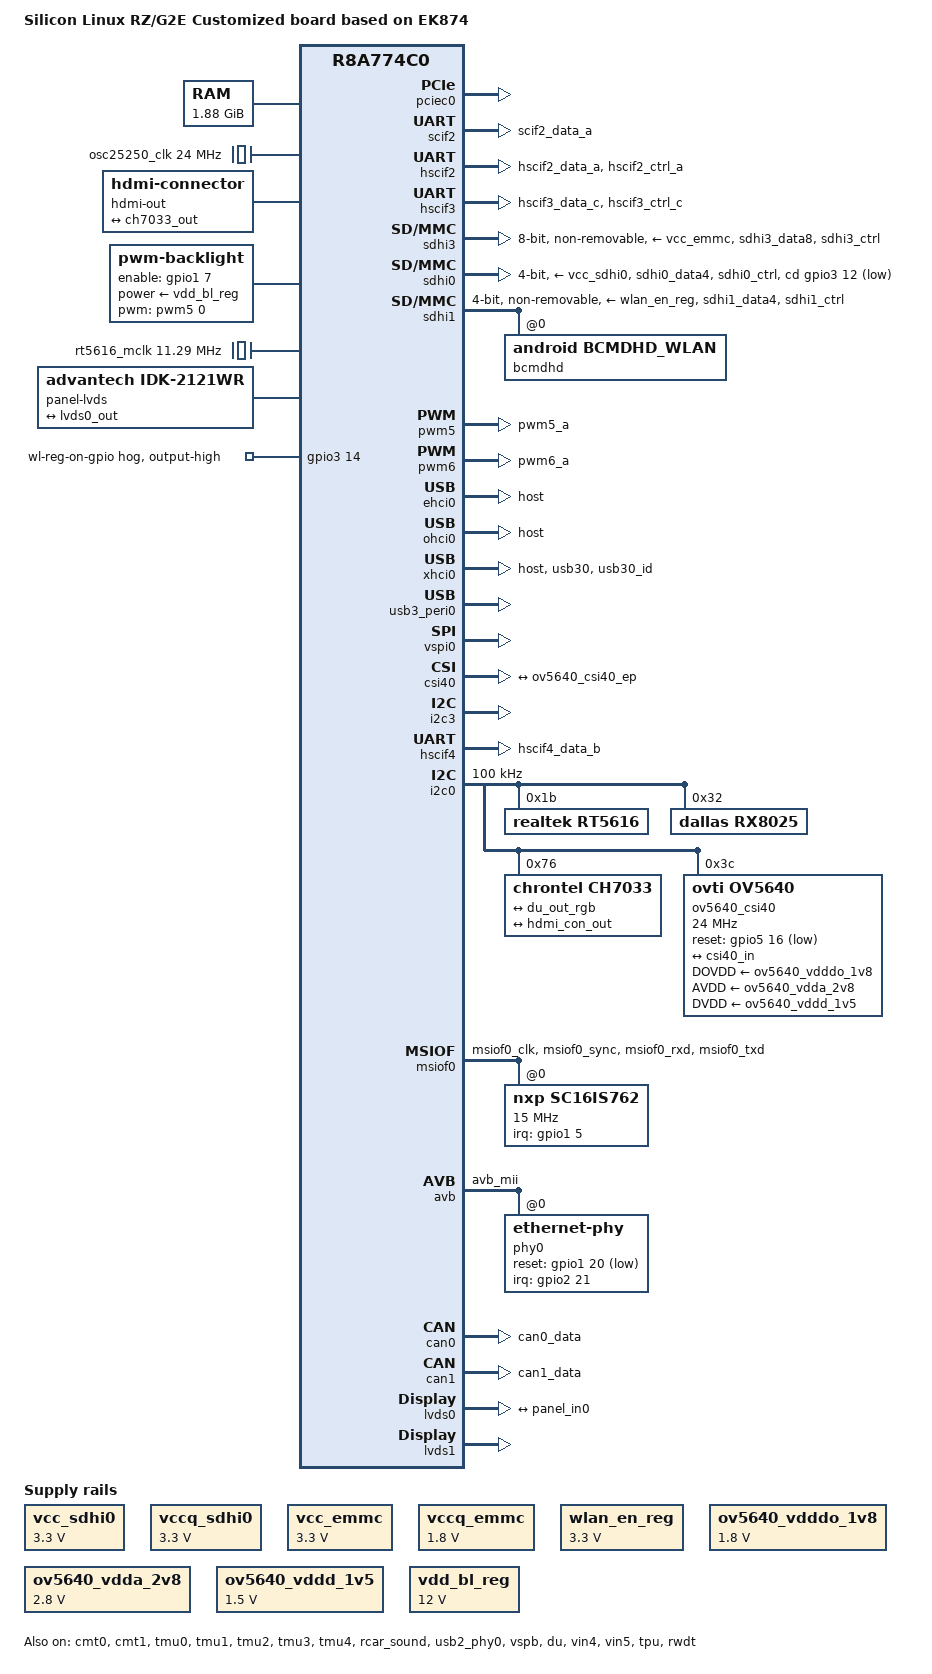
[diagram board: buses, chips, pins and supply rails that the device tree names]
// SPDX-License-Identifier: GPL-2.0
/*
 * Device Tree Source for the Silicon Linux RZ/G2E 96board platform (CAT874)
 *
 * Copyright (C) 2019 Renesas Electronics Corp.
 */

/dts-v1/;
#include "r8a774c0.dtsi"
#include <dt-bindings/gpio/gpio.h>

/ {
	model = "Silicon Linux RZ/G2E Customized board based on EK874";
	compatible = "si-linux,cat875", "si-linux,cat874", "renesas,r8a774c0";

	aliases {
		serial0 = &scif2;
		serial1 = &hscif2;
		serial2 = &hscif3;
		serial3 = &hscif4;
		spi0 = &msiof0;
		spi1 = &msiof1;
		spi2 = &msiof2;
		spi3 = &msiof3;
		ethernet0 = &avb;
	};

	chosen {
		bootargs = "rootfstype=ext4 ro rootwait";
		stdout-path = "serial0:115200n8";
	};

	memory@48000000 {
		device_type = "memory";
		/* first 128MB is reserved for secure area. */
		reg = <0x0 0x48000000 0x0 0x78000000>;
	};

	reserved-memory {
		#address-cells = <2>;
		#size-cells = <2>;
		ranges;

		/* global autoconfigured region for contiguous allocations */
		linux,cma@58000000 {
			compatible = "shared-dma-pool";
			reusable;
			reg = <0x00000000 0x58000000 0x0 0x10000000>;
			linux,cma-default;
		};

		/* device specific region for contiguous allocations */
		mmp_reserved: linux,multimedia {
			compatible = "shared-dma-pool";
			reusable;
			reg = <0x00000000 0x68000000 0x0 0x08000000>;
		};
	};


	mmngr {
		compatible = "renesas,mmngr";
		memory-region = <&mmp_reserved>;
	};

	mmngrbuf {
		compatible = "renesas,mmngrbuf";
	};

	vspm_if {
		compatible = "renesas,vspm_if";
	};

	vcc_sdhi0: regulator-vcc-sdhi0 {
		compatible = "regulator-fixed";

		regulator-name = "SDHI0 Vcc";
		regulator-min-microvolt = <3300000>;
		regulator-max-microvolt = <3300000>;
		regulator-always-on;
		regulator-boot-on;
	};

	vccq_sdhi0: regulator-vccq-sdhi0 {
		compatible = "regulator-fixed";

		regulator-name = "SDHI0 VccQ";
		regulator-min-microvolt = <3300000>;
		regulator-max-microvolt = <3300000>;
		regulator-always-on;
		regulator-boot-on;
	};

	vcc_emmc: regulator-vcc-emmc {
		compatible = "regulator-fixed";

		regulator-name = "eMMC Vcc";
		regulator-min-microvolt = <3300000>;
		regulator-max-microvolt = <3300000>;
		regulator-always-on;
		regulator-boot-on;
	};

	vccq_emmc: regulator-vccq-emmc {
		compatible = "regulator-fixed";

		regulator-name = "eMMC VccQ";
		regulator-min-microvolt = <1800000>;
		regulator-max-microvolt = <1800000>;
		regulator-always-on;
		regulator-boot-on;
	};

	wlan_en_reg: fixedregulator {
		compatible = "regulator-fixed";
		regulator-name = "wlan-en-regulator";
		regulator-min-microvolt = <3300000>;
		regulator-max-microvolt = <3300000>;
		regulator-always-on;
		regulator-boot-on;
	};

	ov5640_vdddo_1v8: 1p8v {
		compatible = "regulator-fixed";
		regulator-name = "camera_vdddo";
		regulator-min-microvolt = <1800000>;
		regulator-max-microvolt = <1800000>;
		regulator-always-on;
	};

	ov5640_vdda_2v8: 2p8v {
		compatible = "regulator-fixed";
		regulator-name = "camera_vdda";
		regulator-min-microvolt = <2800000>;
		regulator-max-microvolt = <2800000>;
		regulator-always-on;
	};

	ov5640_vddd_1v5: 1p5v {
		compatible = "regulator-fixed";
		regulator-name = "camera_vddd";
		regulator-min-microvolt = <1500000>;
		regulator-max-microvolt = <1500000>;
		regulator-always-on;
	};

	osc25250_clk: osc25250_clk {
		compatible = "fixed-clock";
		#clock-cells = <0>;
		clock-frequency = <24000000>;
	};

	sound {
		compatible = "simple-audio-card";
		simple-audio-card,format = "i2s";
		simple-audio-card,mclk-fs = <256>;

		#address-cells = <1>;
		#size-cells = <0>;

		simple-audio-card,dai-link@1 {
			reg = <1>;
			format = "i2s";
			cpu {
				sound-dai = <&rcar_sound 1>;
				bitclock-master;
				frame-master;
			};

			codec {
				sound-dai = <&rt5616>;
			};
		};

	};

	/* External DU dot clocks */
	x13_clk: x13 {
		compatible = "fixed-clock";
		#clock-cells = <0>;
		clock-frequency = <74250000>;
	};

	hdmi-out {
		compatible = "hdmi-connector";
		type = "a";

		port {
			hdmi_con_out: endpoint {
				remote-endpoint = <&ch7033_out>;
			};
		};
	};

	vdd_bl_reg: bl-regulator {
		compatible = "regulator-fixed";
		regulator-name = "fixed-12V";
		regulator-min-microvolt = <12000000>;
		regulator-max-microvolt = <12000000>;
		regulator-boot-on;
		regulator-always-on;
	};

	backlight {
		compatible = "pwm-backlight";
		pwms = <&pwm5 0 5000000>;

		brightness-levels = <0 4 8 16 32 64 128 255>;
		default-brightness-level = <6>;

		power-supply = <&vdd_bl_reg>;
		enable-gpios = <&gpio1 7 GPIO_ACTIVE_HIGH>;
	};

        clocks {
		rt5616_mclk: rt5616_mclk {
			compatible = "fixed-clock";
			#clock-cells = <0>;
			clock-frequency = <11289600>;
			clock-output-names = "rt5616-mclk";
			status = "okay";
                };
        };

	osc25250_clk: osc25250_clk {
		compatible = "fixed-clock";
		#clock-cells = <0>;
		clock-frequency = <24000000>;
	};

	sc16is7xx_clk: sc16is7xx_clk {
		compatible = "fixed-clock";
		#clock-cells = <0>;
		clock-frequency = <1843200>;
	};

	panel-lvds {
		compatible = "advantech,idk-2121wr", "panel-lvds";

		width-mm = <476>;
		height-mm = <268>;

		data-mapping = "vesa-24";

		panel-timing {
			clock-frequency = <65000000>;
			hactive = <1024>;
			vactive = <768>;
			hsync-len = <136>;
			hfront-porch = <24>;
			hback-porch = <160>;
			vfront-porch = <3>;
			vback-porch = <29>;
			vsync-len = <6>;
		};

		ports {
			#address-cells = <1>;
			#size-cells = <0>;

			port@0 {
				reg = <0>;
				dual-lvds-odd-pixels;
				panel_in0: endpoint {
					remote-endpoint = <&lvds0_out>;
				};
			};
		};
	};
};

&audio_clk_a {
	clock-frequency = <22579200>;
};

&extal_clk {
	clock-frequency = <48000000>;
};

&pcie_bus_clk {
	clock-frequency = <100000000>;
};

&pciec0 {
	/* Map all possible DDR as inbound ranges */
	dma-ranges = <0x42000000 0 0x40000000 0 0x40000000 0 0x80000000>;
};

&pfc {
	scif2_pins: scif2 {
		groups = "scif2_data_a";
		function = "scif2";
	};

	hscif2_pins: hscif2 {
		groups = "hscif2_data_a", "hscif2_ctrl_a";
		function = "hscif2";
	};

	hscif3_pins: hscif3 {
		groups = "hscif3_data_c", "hscif3_ctrl_c";
		function = "hscif3";
	};

	hscif4_pins: hscif4 {
		groups = "hscif4_data_b";
		function = "hscif4";
	};

	sdhi0_pins: sd0 {
		groups = "sdhi0_data4", "sdhi0_ctrl";
		function = "sdhi0";
		power-source = <3300>;
	};
	pwm5_pins: pwm5 {
		groups = "pwm5_a";
		function = "pwm5";
	};

	pwm6_pins: pwm6 {
		groups = "pwm6_a";
		function = "pwm6";
	};

	sound_clk_pins: sound_clk {
		groups = "audio_clkout_a", "audio_clkout1_a",
			 "audio_clk_a", "audio_clk_b_a", "audio_clk_c_a";
		function = "audio_clk";
	};

	sound_pins: sound {
		groups = "ssi01239_ctrl", "ssi0_data",
			 "ssi349_ctrl", "ssi3_data", "ssi4_data";
		function = "ssi";
	};

	tpu0_pins: tpu {
		groups = "tpu0_to0", "tpu0_to1";
		function = "tpu0";
	};

	usb0_pins: usb {
		groups = "usb0_b";
		function = "usb0";
	};

	usb30_pins: usb30 {
		groups = "usb30", "usb30_id";
		function = "usb30";
	};

	sdhi3_pins: sd3 {
		groups = "sdhi3_data8", "sdhi3_ctrl";
		function = "sdhi3";
		power-source = <3300>;
	};

	sdhi3_pins_uhs: sd3_uhs {
		groups = "sdhi3_data8", "sdhi3_ctrl";
		function = "sdhi3";
		power-source = <1800>;
	};

	du_pins: du {
		groups = "du_rgb888", "du_sync", "du_clk_out_0",
			"du_disp";
		function = "du";
	};

	msiof0_pins: spi0 {
		groups = "msiof0_clk", "msiof0_sync",
			"msiof0_rxd", "msiof0_txd";
		function = "msiof0";
	};

	avb_pins: avb {
		mux {
			groups = "avb_mii";
			function = "avb";
		};
	};

	can0_pins: can0 {
		groups = "can0_data";
		function = "can0";
	};

	can1_pins: can1 {
		groups = "can1_data";
		function = "can1";
	};


	sdhi1_pins: sd1 {
		groups = "sdhi1_data4", "sdhi1_ctrl";
		function = "sdhi1";
		power-source = <3300>;
	};

	camera_pins: camera {
		
	};
};

&scif2 {
	pinctrl-0 = <&scif2_pins>;
	pinctrl-names = "default";

	status = "okay";
};

&hscif2 {
	pinctrl-0 = <&hscif2_pins>;
	pinctrl-names = "default";

	uart-has-rtscts;
	status = "okay";
};

&hscif3 {
	pinctrl-0 = <&hscif3_pins>;
	pinctrl-names = "default";

	uart-has-rtscts;
	status = "okay";
};

&sdhi3 {
	/* used for on-board eMMC */
	status = "okay";
	pinctrl-0 = <&sdhi3_pins>;
	pinctrl-1 = <&sdhi3_pins_uhs>;
	pinctrl-names = "default", "state_uhs";

	vmmc-supply = <&vcc_emmc>;
	vqmmc-supply = <&vccq_emmc>;
	bus-width = <8>;

	non-removable;
	fixed-emmc-driver-type = <1>;
	max-frequency = <200000000>;
	mmc-hs200-1_8v;
};

&sdhi0 {
	pinctrl-0 = <&sdhi0_pins>;
	pinctrl-names = "default";

	/* No 1.8V supply avaiable for SD card on this board. */
	vmmc-supply = <&vcc_sdhi0>;
	vqmmc-supply = <&vccq_sdhi0>;
	cd-gpios = <&gpio3 12 GPIO_ACTIVE_LOW>;
	bus-width = <4>;
	max-frequency = <52000000>;
	cap-sd-highspeed;
	no-1-8-v;
	status = "okay";
};

&sdhi1 {
	status = "okay";
	pinctrl-0 = <&sdhi1_pins>;
	pinctrl-names = "default";

	vmmc-supply = <&wlan_en_reg>;
	bus-width = <4>;
	max-frequency = <52000000>;
	non-removable;
	cap-power-off-card;
	keep-power-in-suspend;	
	no-1-8-v;

        bcmdhd: bcmdhd@0 {
                compatible = "android,bcmdhd_wlan";
                status = "okay";
        };

/*
	brcmf: wifi@0 {
		reg = <0>;
		compatible = "brcm,bcm4329-fmac";
                status = "okay";
	};
*/
};

&pwm5 {
	pinctrl-0 = <&pwm5_pins>;
	pinctrl-names = "default";

	status = "okay";
};

&pwm6 {
	pinctrl-0 = <&pwm6_pins>;
	pinctrl-names = "default";

	status = "okay";
};

&cmt0 {
	status = "okay";
};

&cmt1 {
	status = "okay";
};

&tmu0 {
	status = "okay";
};

&tmu1 {
	status = "okay";
};

&tmu2 {
	status = "okay";
};

&tmu3 {
	status = "okay";
};

&tmu4 {
	status = "okay";
};

&rcar_sound {
	pinctrl-0 = <&sound_pins &sound_clk_pins>;
	pinctrl-names = "default";

	/* Single DAI */
	#sound-dai-cells = <1>;

	/* audio_clkout0/1/2/3 */
	#clock-cells = <1>;
	clock-frequency = <11289600>;

	status = "okay";

	rcar_sound,dai {
		dai0 {
			playback = <&ssi0 &src0 &dvc0>;
		};

		dai1 {
			playback = <&ssi4 &src4 &dvc1>;
			capture  = <&ssi3 &src3 &dvc1>;
		};
	};
};

&ssi4 {
	shared-pin;
};

&ehci0 {
	dr_mode = "host";
	status = "okay";
};

&ohci0 {
	dr_mode = "host";
	status = "okay";
};

&usb2_phy0 {
	pinctrl-0 = <&usb0_pins>;
	pinctrl-names = "default";

	status = "okay";
};

&xhci0 {
	pinctrl-0 = <&usb30_pins>;
	pinctrl-names = "default";
	dr_mode = "host";

	status = "okay";
};

&usb3_peri0 {
	companion = <&xhci0>;

	usb-role-switch;
	role-switch-default-mode = "host";

	status = "okay";
};

&vspb {
	status = "okay";
};

&vspi0 {
	status = "okay";
};

&du {
	pinctrl-0 = <&du_pins>;
	pinctrl-names = "default";
	status = "okay";

	clocks = <&cpg CPG_MOD 724>,
		 <&cpg CPG_MOD 723>,
		 <&x13_clk>;
	clock-names = "du.0", "du.1", "dclkin.0";

	ports {
		port@0 {
			du_out_rgb: endpoint {
				remote-endpoint = <&ch7033_in>;
			};
		};
	};
};

&vin4 {
	status = "okay";
};

&vin5 {
	status = "okay";
};

&csi40 {
	status = "okay";
};

&i2c3 {
	status = "okay";
};

&tpu{
	pinctrl-0 = <&tpu0_pins>;
	pinctrl-names = "default";
	status = "okay";
};

&hscif4 {
	pinctrl-0 = <&hscif4_pins>;
	pinctrl-names = "default";

	uart-has-rtscts;
	status = "okay";
};

&rwdt {
	status = "okay";
	timeout-sec = <60>;
};

&i2c0 {
	status = "okay";
	clock-frequency = <100000>;

	rt5616: rt5616@1b {
		compatible = "realtek,rt5616";
		reg = <0x1b>;
		clocks = <&rt5616_mclk>;
		#sound-dai-cells = <0>;
	};

	rx8025: rtc@32 {
		compatible = "dallas,rx8025";
		reg = <0x32>;
		trickle-resistor-ohms = <250>;
	};

	ch7033: ch7033@76 {
		compatible = "chrontel,ch7033";
		reg = <0x76>;

		ports {
			#address-cells = <1>;
			#size-cells = <0>;

			port@0 {
				reg = <0>;
				ch7033_in: endpoint {
					remote-endpoint = <&du_out_rgb>;
				};
			};

			port@1 {
				reg = <1>;
				ch7033_out: endpoint {
					remote-endpoint = <&hdmi_con_out>;
				};
			};
		};
	};

	ov5640_csi40: camera@3c {
		compatible = "ovti,ov5640";
		reg = <0x3c>;
		pinctrl-0 = <&camera_pins>;
		pinctrl-names = "default";
		clock-names = "xclk";
		clocks = <&osc25250_clk>;
		clock-frequency = <24000000>;
		DOVDD-supply = <&ov5640_vdddo_1v8>;
		AVDD-supply = <&ov5640_vdda_2v8>;
		DVDD-supply = <&ov5640_vddd_1v5>;
		reset-gpios = <&gpio5 16 GPIO_ACTIVE_LOW>;
		virtual-channel = /bits/ 8 <0>;

		port {
			ov5640_csi40_ep: endpoint {
				clock-lanes = <0>;
				data-lanes = <1 2>;
				remote-endpoint = <&csi40_in>;
			};
		};
	};

};

&msiof0 {
	pinctrl-0 = <&msiof0_pins>;
	pinctrl-names = "default";
	status = "okay";

	sc16is762: sc16is762@0 {
		compatible = "nxp,sc16is762";
		reg = <0>;
		spi-max-frequency = <15000000>;
		clocks = <&sc16is7xx_clk>;
		interrupt-parent = <&gpio1>;
		interrupts = <5 IRQ_TYPE_EDGE_FALLING>;
		gpio-controller;
		#gpio-cells = <2>;
	};
};

&avb {
	pinctrl-0 = <&avb_pins>;
	pinctrl-names = "default";
	renesas,no-ether-link;
	phy-handle = <&phy0>;
	phy-mode = "rgmii";
	status = "okay";

	phy0: ethernet-phy@0 {
		rxc-skew-ps = <1500>;
		reg = <0>;
		interrupt-parent = <&gpio2>;
		interrupts = <21 IRQ_TYPE_LEVEL_LOW>;
		reset-gpios = <&gpio1 20 GPIO_ACTIVE_LOW>;
	};
};

&can0 {
	pinctrl-0 = <&can0_pins>;
	pinctrl-names = "default";
	renesas,can-clock-select = <0x0>;
	status = "okay";
};

&can1 {
	pinctrl-0 = <&can1_pins>;
	pinctrl-names = "default";
	renesas,can-clock-select = <0x0>;
	status = "okay";
};

&pciec0 {
	status = "okay";
};

&lvds0 {
	status = "okay";

	clocks = <&cpg CPG_MOD 727>,
		 <&x13_clk>;
	clock-names = "fck", "dclkin.0";

	ports {
		port@1 {
			lvds0_out: endpoint {
				remote-endpoint = <&panel_in0>;
			};
		};
	};
};

&lvds1 {
	status = "okay";

	clocks = <&cpg CPG_MOD 727>,
		 <&x13_clk>;
	clock-names = "fck", "dclkin.0";
};

&gpio3 {
        wl-reg-on-gpio{
                gpio-hog;
                gpios = <14 GPIO_ACTIVE_HIGH>;
                output-high;
                line-name = "wl-reg-on-gpio";
        };
};

&csi40 {
	status = "okay";

	ports {
		port {
			csi40_in: endpoint {
				clock-lanes = <0>;
				data-lanes = <1 2>;
				remote-endpoint = <&ov5640_csi40_ep>;
			};
		};
	};
};

